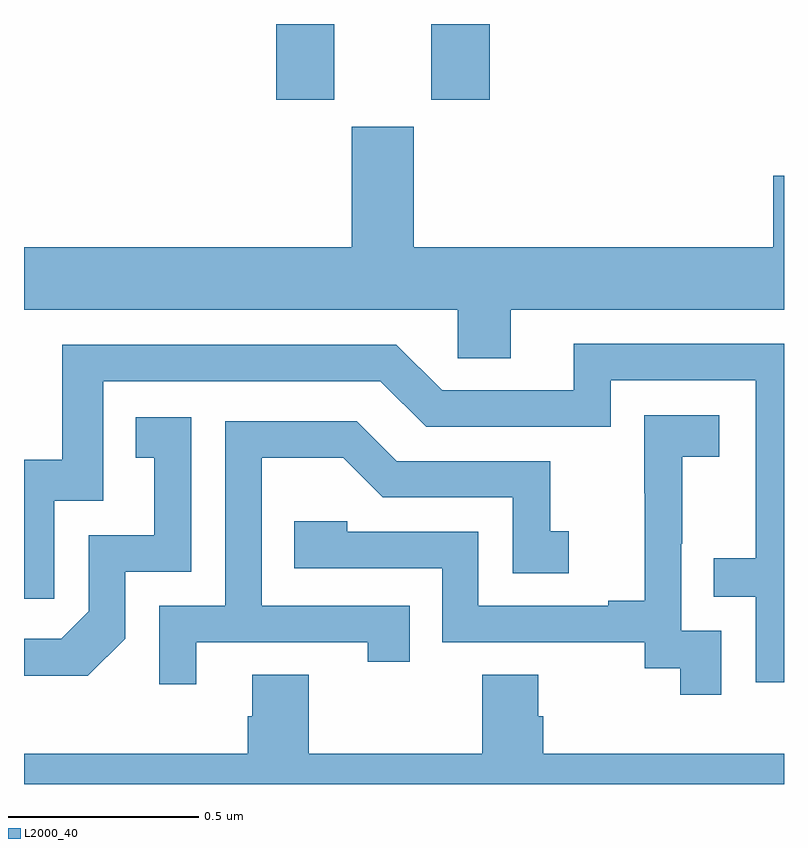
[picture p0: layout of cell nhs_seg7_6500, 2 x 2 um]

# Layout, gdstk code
import gdstk
lib = gdstk.Library(unit=1e-6, precision=1e-09)
def R(c, l, rs):  # rectangles x0, y0, x1, y1
    for r in rs: c.add(gdstk.rectangle(r[:2], r[2:], *l))
def P(c, l, *ps):  # polygons
    for p in ps: c.add(gdstk.Polygon(p, *l))
L2000_40 = (2000, 40)

nhs_seg7_6500 = lib.new_cell('nhs_seg7_6500')
R(nhs_seg7_6500, L2000_40, [(199.664,1035.801,199.816,1036), (200.072,1035.801,200.225,1036)])
P(nhs_seg7_6500, L2000_40, [(200.281,1035.248),(201,1035.248),(201,1035.601),(200.972,1035.601),(200.972,1035.412),(200.026,1035.412),(200.026,1035.729),(199.862,1035.729),(199.862,1035.412),(199,1035.412),(199,1035.248),(200.142,1035.248),(200.142,1035.121),(200.281,1035.121)],
  [(201,1035.159),(200.447,1035.159),(200.447,1035.036),(200.1,1035.036),(199.98,1035.156),(199.101,1035.156),(199.101,1034.853),(199,1034.853),(199,1034.487),(199.08,1034.487),(199.08,1034.745),(199.209,1034.745),(199.209,1035.06),(199.938,1035.06),(200.058,1034.94),(200.544,1034.94),(200.544,1035.063),(200.925,1035.063),(200.925,1034.594),(200.815,1034.594),(200.815,1034.493),(200.925,1034.493),(200.925,1034.268),(201,1034.268)],
  [(200.835,1034.403),(200.73,1034.403),(200.73,1034.632),(200.732,1034.632),(200.732,1034.861),(200.83,1034.861),(200.83,1034.971),(200.632,1034.971),(200.632,1034.765),(200.633,1034.765),(200.633,1034.482),(200.537,1034.482),(200.537,1034.469),(200.196,1034.469),(200.196,1034.664),(199.851,1034.664),(199.851,1034.691),(199.711,1034.691),(199.711,1034.568),(200.1,1034.568),(200.1,1034.373),(200.634,1034.373),(200.634,1034.305),(200.727,1034.305),(200.727,1034.235),(200.835,1034.235)],
  [(199.266,1034.382),(199.266,1034.559),(199.44,1034.559),(199.44,1034.965),(199.294,1034.965),(199.294,1034.859),(199.343,1034.859),(199.343,1034.655),(199.17,1034.655),(199.17,1034.454),(199.098,1034.382),(199,1034.382),(199,1034.285),(199.168,1034.285)],
  [(199.453,1034.373),(199.904,1034.373),(199.904,1034.322),(200.015,1034.322),(200.015,1034.469),(199.626,1034.469),(199.626,1034.858),(199.84,1034.858),(199.944,1034.754),(200.286,1034.754),(200.286,1034.555),(200.434,1034.555),(200.434,1034.665),(200.385,1034.665),(200.385,1034.85),(199.981,1034.85),(199.876,1034.955),(199.53,1034.955),(199.53,1034.469),(199.356,1034.469),(199.356,1034.262),(199.453,1034.262)],
  [(201,1034.08),(200.366,1034.08),(200.366,1034.178),(200.353,1034.178),(200.353,1034.288),(200.206,1034.288),(200.206,1034.08),(199.749,1034.08),(199.749,1034.288),(199.601,1034.288),(199.601,1034.178),(199.589,1034.178),(199.589,1034.08),(199,1034.08),(199,1034),(201,1034)])

lib.write_gds('nhs_seg7_6500.gds')
